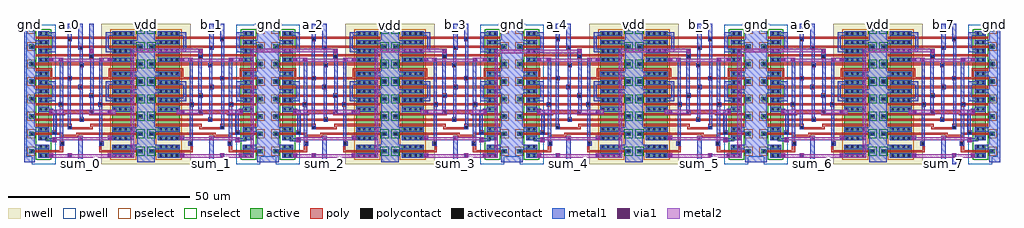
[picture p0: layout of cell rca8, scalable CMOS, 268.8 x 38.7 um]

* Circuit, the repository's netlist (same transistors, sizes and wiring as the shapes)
* FILE: rca8.sp


* SPICE netlist for "rca8" generated by MMI_SUE5.6.37 on Thu Nov 01 
*+ 16:52:23 CDT 2018.

.SUBCKT inv In Out_b 
M_1 Out_b In gnd gnd n W='3*1u' L='0.6*1u' 
M_2 Out_b In vdd vdd p W='6*1u' L='0.6*1u' 
.ENDS	$ inv

.SUBCKT FA a b c cout sum 
M_1 net_9 net_4 net_2 gnd n W='3*1u' L='0.6*1u' 
M_2 net_2 a gnd gnd n W='3*1u' L='0.6*1u' 
M_3 net_2 b gnd gnd n W='3*1u' L='0.6*1u' 
M_4 net_2 c gnd gnd n W='3*1u' L='0.6*1u' 
M_5 net_9 c net_8 gnd n W='3*1u' L='0.6*1u' 
M_6 net_8 b net_3 gnd n W='3*1u' L='0.6*1u' 
M_7 net_3 a gnd gnd n W='3*1u' L='0.6*1u' 
M_8 net_4 c net_6 gnd n W='3*1u' L='0.6*1u' 
M_9 net_6 a gnd gnd n W='3*1u' L='0.6*1u' 
M_10 net_6 b gnd gnd n W='3*1u' L='0.6*1u' 
M_11 net_4 b net_12 gnd n W='3*1u' L='0.6*1u' 
M_12 net_12 a gnd gnd n W='3*1u' L='0.6*1u' 
M_13 net_5 a vdd vdd p W='6*1u' L='0.6*1u' 
M_14 net_5 b vdd vdd p W='6*1u' L='0.6*1u' 
M_15 net_5 c vdd vdd p W='6*1u' L='0.6*1u' 
M_16 net_9 net_4 net_5 vdd p W='6*1u' L='0.6*1u' 
M_17 net_7 b net_11 vdd p W='6*1u' L='0.6*1u' 
M_18 net_9 c net_7 vdd p W='6*1u' L='0.6*1u' 
M_19 net_11 a vdd vdd p W='6*1u' L='0.6*1u' 
M_20 net_1 a vdd vdd p W='6*1u' L='0.6*1u' 
M_21 net_1 b vdd vdd p W='6*1u' L='0.6*1u' 
M_22 net_4 c net_1 vdd p W='6*1u' L='0.6*1u' 
M_23 net_4 b net_10 vdd p W='6*1u' L='0.6*1u' 
M_24 net_10 a vdd vdd p W='6*1u' L='0.6*1u' 
Xinv net_4 cout inv 
Xinv_1 net_9 sum inv 
.ENDS	$ FA

.SUBCKT rca8 A[0] A[1] A[2] A[3] A[4] A[5] A[6] A[7] B[0] B[1] B[2] B[3] 
+ B[4] B[5] B[6] B[7] C_0 Cout Sum[0] Sum[1] Sum[2] Sum[3] Sum[4] Sum[5] 
+ Sum[6] Sum[7] 
XFA A[0] B[0] C_0 net_1 Sum[0] FA 
XFA_1 A[1] B[1] net_1 net_2 Sum[1] FA 
XFA_2 A[2] B[2] net_2 net_3 Sum[2] FA 
XFA_3 A[3] B[3] net_3 net_7 Sum[3] FA 
XFA_4 A[4] B[4] net_7 net_4 Sum[4] FA 
XFA_5 A[5] B[5] net_4 net_6 Sum[5] FA 
XFA_6 A[6] B[6] net_6 net_5 Sum[6] FA 
XFA_7 A[7] B[7] net_5 Cout Sum[7] FA 
.ENDS	$ rca8

.GLOBAL gnd vdd

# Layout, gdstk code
from math import pi, radians
import gdstk
lib = gdstk.Library(unit=1e-6, precision=1e-09)
def R(c, l, rs):  # rectangles x0, y0, x1, y1
    for r in rs: c.add(gdstk.rectangle(r[:2], r[2:], *l))
def A(c, l, x, y, w, h, nx, ny, dx, dy):  # array of equal rectangles
    R(c, l, [(x+i*dx, y+j*dy, x+i*dx+w, y+j*dy+h) for i in range(nx) for j in range(ny)])
pwell = (41, 0)
nwell = (42, 0)
active = (43, 0)
pselect = (44, 0)
nselect = (45, 0)
poly = (46, 0)
polycontact = (47, 0)
activecontact = (48, 0)
metal1 = (49, 0)
via1 = (50, 0)
metal2 = (51, 0)

c_fa = lib.new_cell('fa')
R(c_fa, pwell, [(-1.5,-1.5,35.1,0), (-1.5,0,37.2,1.5), (-1.2,1.5,37.2,6.6)])
R(c_fa, nwell, [(-1.5,19.2,37.2,31.5)])
A(c_fa, active, -0.6, -0.6, 1.2, 1.2, 8, 2, 4.8, 30)
R(c_fa, active, [(0.6,1.8,30.6,4.8), (31.8,1.8,35.4,4.8), (0.6,22.2,30.6,28.2), (31.8,22.2,35.4,28.2)])
A(c_fa, pselect, -1.2, -1.2, 2.4, 2.4, 8, 1, 4.8, 0)
R(c_fa, pselect, [(0,21.6,36,28.8)])
A(c_fa, nselect, -1.2, 28.8, 2.4, 2.4, 8, 1, 4.8, 0)
R(c_fa, nselect, [(0,1.2,36,5.4)])
R(c_fa, poly, [(2.1,1.2,2.7,9.9), (4.5,1.2,5.1,12.9), (6.9,1.2,7.5,15.9), (9.3,1.2,9.9,13.2), (10.8,1.2,11.4,5.1), (13.2,1.2,13.8,5.1), (15.6,1.2,16.2,12.9), (18,1.2,18.6,15.9), (20.4,1.2,21,7.5), (23.1,1.2,23.7,8.7), (24.6,1.2,25.2,13.2), (26.1,1.2,26.7,9.9), (28.5,1.2,29.1,5.7), (33.3,1.2,33.9,7.8), (10.8,5.1,13.8,5.7), (13.2,5.7,13.8,9.9), (27.9,5.7,29.1,6.9), (28.5,6.9,29.1,8.1), (20.1,7.5,21.3,8.7), (30.9,7.8,33.9,8.7), (28.5,8.1,29.7,8.7), (20.4,8.7,21,18.3), (22.5,8.7,23.7,9.3), (29.1,8.7,29.7,12.3), (30.9,8.7,32.1,9), (22.5,9.3,23.1,15.9), (2.1,9.9,3.3,11.1), (12.9,9.9,14.1,11.1), (26.1,9.9,27.6,11.1), (2.1,11.1,2.7,28.8), (13.2,11.1,13.8,21.3), (27,11.1,27.6,16.2), (28.5,12.3,29.7,12.9), (4.5,12.9,5.7,14.1), (15.3,12.9,16.5,14.1), (28.5,12.9,29.1,28.8), (9.3,13.2,10.5,14.4), (24.3,13.2,25.5,14.4), (4.5,14.1,5.1,28.8), (15.6,14.1,16.2,28.8), (9.3,14.4,9.9,28.8), (24.6,14.4,25.2,28.8), (6.9,15.9,8.1,17.1), (17.7,15.9,18.9,17.1), (22.2,15.9,23.7,17.1), (26.1,16.2,27.6,16.8), (26.1,16.8,26.7,28.8), (6.9,17.1,7.5,28.8), (18,17.1,18.6,28.8), (23.1,17.1,23.7,28.8), (20.1,18.3,21.3,19.5), (30.9,18.6,33.9,19.2), (30.9,19.2,32.1,19.8), (33.3,19.2,33.9,28.8), (20.4,19.5,21,28.8), (10.8,21.3,13.8,21.9), (10.8,21.9,11.4,28.8), (13.2,21.9,13.8,28.8)])
R(c_fa, polycontact, [(28.2,6,28.8,6.6), (20.4,7.8,21,8.4), (31.2,8.1,31.8,8.7), (2.4,10.2,3,10.8), (13.2,10.2,13.8,10.8), (26.7,10.2,27.3,10.8), (4.8,13.2,5.4,13.8), (15.6,13.2,16.2,13.8), (9.6,13.5,10.2,14.1), (24.6,13.5,25.2,14.1), (7.2,16.2,7.8,16.8), (18,16.2,18.6,16.8), (22.5,16.2,23.1,16.8), (20.4,18.6,21,19.2), (31.2,18.9,31.8,19.5)])
A(c_fa, activecontact, -0.3, -0.3, 0.6, 0.6, 8, 2, 4.8, 30)
A(c_fa, activecontact, 0.9, 2.25, 0.6, 0.6, 4, 2, 2.4, 1.5)
A(c_fa, activecontact, 12, 2.25, 0.6, 0.6, 4, 2, 2.4, 1.5)
A(c_fa, activecontact, 27.3, 2.25, 0.6, 0.6, 4, 2, 2.4, 1.5)
A(c_fa, activecontact, 0.9, 22.65, 0.6, 0.6, 4, 4, 2.4, 1.5)
A(c_fa, activecontact, 12, 22.65, 0.6, 0.6, 4, 4, 2.4, 1.5)
A(c_fa, activecontact, 21.75, 22.65, 0.6, 0.6, 1, 4, 0, 1.5)
A(c_fa, activecontact, 27.3, 22.65, 0.6, 0.6, 4, 4, 2.4, 1.5)
R(c_fa, activecontact, [(21.75,2.25,22.35,2.85), (21.75,3.75,22.35,4.35)])
R(c_fa, metal1, [(-1.5,-0.9,36.6,0.9), (3,0.9,4.2,4.8), (11.7,0.9,12.9,4.8), (16.5,0.9,17.7,4.8), (27,0.9,28.2,4.8), (31.8,0.9,33,4.8), (0.6,1.8,1.8,4.8), (5.4,1.8,6.6,4.8), (7.8,1.8,9,6), (14.1,1.8,15.3,4.8), (18.9,1.8,20.1,4.8), (21.3,1.8,22.8,4.8), (29.4,1.8,30.6,3.9), (34.2,1.8,35.4,6), (29.4,3.9,30.9,4.8), (0.9,4.8,1.8,5.7), (5.4,4.8,6.3,5.7), (14.4,4.8,15.3,5.7), (18.9,4.8,19.8,5.7), (21.9,4.8,23.4,6), (30,4.8,30.9,5.7), (0.9,5.7,6.3,6.6), (14.4,5.7,19.8,6.6), (27.9,5.7,29.1,6), (30,5.7,31.2,6.9), (22.5,6,29.1,6.9), (7.8,7.5,9,7.8), (20.1,7.5,21.3,7.8), (7.8,7.8,32.1,8.7), (30.9,8.7,32.1,9), (0.6,9.9,27.6,10.8), (34.2,9.9,35.4,11.1), (0.6,10.8,3.3,11.1), (12.9,10.8,14.1,11.1), (26.4,10.8,27.6,11.1), (3,12.9,5.7,13.2), (15.3,12.9,16.5,13.2), (29.4,12.9,36.6,14.1), (3,13.2,25.5,14.1), (9.3,14.1,10.5,14.4), (24.3,14.1,25.5,14.4), (5.4,15.9,8.1,16.2), (17.7,15.9,18.9,16.2), (22.2,15.9,23.4,16.2), (5.4,16.2,23.4,17.1), (20.1,18.3,21.3,18.6), (7.8,18.6,32.1,19.5), (7.8,19.5,9,19.8), (30.9,19.5,32.1,19.8), (0.9,20.4,6.3,21.3), (14.4,20.4,19.8,21.3), (7.8,21,9,28.2), (22.2,21,23.4,22.2), (29.4,21,30.6,28.2), (34.2,21,35.4,28.2), (0.9,21.3,1.8,22.2), (5.4,21.3,6.3,22.2), (14.4,21.3,15.3,22.2), (18.9,21.3,19.8,22.2), (0.6,22.2,1.8,28.2), (3,22.2,4.2,29.1), (5.4,22.2,6.6,28.2), (11.7,22.2,12.9,29.1), (14.1,22.2,15.3,28.2), (16.5,22.2,17.7,29.1), (18.9,22.2,20.1,28.2), (21.3,22.2,23.4,23.1), (27,22.2,28.2,29.1), (31.8,22.2,33,29.1), (21.3,23.1,22.8,28.2), (-1.5,29.1,36.6,30.9)])
R(c_fa, via1, [(8.1,5.1,8.7,5.7), (22.5,5.1,23.1,5.7), (34.5,5.1,35.1,5.7), (30.3,6,30.9,6.6), (8.1,7.8,8.7,8.4), (34.5,10.2,35.1,10.8), (29.7,13.2,30.3,13.8), (5.7,16.2,6.3,16.8), (8.1,18.9,8.7,19.5), (8.1,21.3,8.7,21.9), (22.5,21.3,23.1,21.9), (29.7,21.3,30.3,21.9), (34.5,21.3,35.1,21.9)])
R(c_fa, metal2, [(7.8,4.8,9,8.7), (22.2,4.8,23.4,23.1), (34.2,4.8,35.4,6), (29.7,5.7,31.2,6.9), (34.5,6,35.4,9.9), (29.7,6.9,30.6,12.9), (8.1,8.7,9,18.6), (34.2,9.9,35.4,11.1), (34.5,11.1,35.4,21), (29.4,12.9,30.6,14.1), (29.7,14.1,30.6,21), (5.4,15.9,6.6,17.1), (7.8,18.6,9,22.2), (29.4,21,30.6,22.2), (34.2,21,35.4,22.2)])
c_fa.add(gdstk.Label('vdd', (0,30), layer=49, texttype=0))
c_fa.add(gdstk.Label('gnd', (1.2,0), layer=49, texttype=0))
c_fa.add(gdstk.Label('A', (1.2,10.5), layer=49, texttype=0))
c_fa.add(gdstk.Label('Cout', (34.8,10.5), layer=51, texttype=0))
c_fa.add(gdstk.Label('B', (3.6,13.5), layer=49, texttype=0))
c_fa.add(gdstk.Label('C', (6,16.5), layer=51, texttype=0))
c_fa.add(gdstk.Label('SUm', (32.7,13.5), layer=49, texttype=0))

rca2 = lib.new_cell('rca2')
A(rca2, metal1, -1.2, 0.6, 1.2, 38.1, 3, 1, 33, 0)
R(rca2, metal1, [(13.8,34.2,15,38.7), (49.8,34.2,51,38.7), (10.8,36.6,12,38.7), (52.8,36.6,54,38.7)])
R(rca2, metal2, [(23.1,1.8,29.1,2.7), (28.2,2.7,29.1,30.9), (28.2,30.9,46.8,31.8)])
rca2.add(gdstk.Reference(c_fa, (0.9,37.2), rotation=3*pi/2))
rca2.add(gdstk.Reference(c_fa, (63.9,37.2), rotation=3*pi/2, x_reflection=True))

rca8 = lib.new_cell('rca8')
A(rca8, pwell, 66.6, 2.1, 1.2, 36.6, 3, 1, 67.2, 0)
A(rca8, metal1, 64.2, 37.8, 6, 0.9, 3, 1, 67.2, 0)
A(rca8, metal1, 98.4, 37.8, 4.8, 0.9, 3, 1, 67.2, 0)
R(rca8, metal1, [(15,0,16.2,0.6), (51,0,52.2,0.6), (82.2,0,83.4,0.6), (118.2,0,119.4,0.6), (149.4,0,150.6,0.6), (185.4,0,186.6,0.6), (216.6,0,217.8,0.6), (252.6,0,253.8,0.6), (255.6,0,256.8,1.8), (18,31.8,19.2,38.7), (265.8,37.8,268.8,38.7), (0,38.1,3,38.7), (12,38.1,13.2,38.7), (15,38.1,16.2,38.7), (31.2,38.1,36,38.7), (51,38.1,52.2,38.7), (54,38.1,55.2,38.7), (79.2,38.1,80.4,38.7), (82.2,38.1,83.4,38.7), (118.2,38.1,119.4,38.7), (121.2,38.1,122.4,38.7), (146.4,38.1,147.6,38.7), (149.4,38.1,150.6,38.7), (185.4,38.1,186.6,38.7), (188.4,38.1,189.6,38.7), (213.6,38.1,214.8,38.7), (216.6,38.1,217.8,38.7), (252.6,38.1,253.8,38.7), (255.6,38.1,256.8,38.7)])
A(rca8, metal2, 60.3, 1.8, 3, 0.9, 3, 1, 67.2, 0)
R(rca8, metal2, [(62.4,2.7,63.3,30.9), (129.6,2.7,130.5,30.6), (196.5,2.7,197.7,30.9), (129.6,30.6,152.4,31.5), (62.4,30.9,85.2,31.8), (196.5,30.9,219.6,31.8)])
r = gdstk.Reference(rca2, (1.2,0)); r.repetition = gdstk.Repetition(4, 1, v1=(67.2,0), v2=(0,38.7)); rca8.add(r)
rca8.add(gdstk.Label('a_0', (12.6,38.4), layer=49, texttype=0))
rca8.add(gdstk.Label('b_0', (15.6,38.4), layer=49, texttype=0))
rca8.add(gdstk.Label('c_0', (18.6,38.4), layer=49, texttype=0))
rca8.add(gdstk.Label('b_1', (51.6,38.4), layer=49, texttype=0))
rca8.add(gdstk.Label('a_1', (54.6,38.4), layer=49, texttype=0))
rca8.add(gdstk.Label('a_2', (79.8,38.4), layer=49, texttype=0))
rca8.add(gdstk.Label('b_2', (82.8,38.4), layer=49, texttype=0))
rca8.add(gdstk.Label('b_3', (118.8,38.4), layer=49, texttype=0))
rca8.add(gdstk.Label('a_3', (121.8,38.4), layer=49, texttype=0))
rca8.add(gdstk.Label('a_4', (147,38.4), layer=49, texttype=0))
rca8.add(gdstk.Label('b_4', (150,38.4), layer=49, texttype=0))
rca8.add(gdstk.Label('b_5', (186,38.4), layer=49, texttype=0))
rca8.add(gdstk.Label('a_5', (189,38.4), layer=49, texttype=0))
rca8.add(gdstk.Label('a_6', (214.2,38.4), layer=49, texttype=0))
rca8.add(gdstk.Label('b_6', (217.2,38.4), layer=49, texttype=0))
rca8.add(gdstk.Label('b_7', (253.2,38.4), layer=49, texttype=0))
rca8.add(gdstk.Label('a_7', (256.2,38.4), layer=49, texttype=0))
rca8.add(gdstk.Label('sum_0', (15.6,0.3), layer=49, texttype=0))
rca8.add(gdstk.Label('sum_1', (51.6,0.3), layer=49, texttype=0))
rca8.add(gdstk.Label('sum_2', (82.8,0.3), layer=49, texttype=0))
rca8.add(gdstk.Label('sum_3', (118.8,0.3), layer=49, texttype=0))
rca8.add(gdstk.Label('sum_4', (150,0.3), layer=49, texttype=0))
rca8.add(gdstk.Label('sum_5', (186,0.3), layer=49, texttype=0))
rca8.add(gdstk.Label('sum_6', (217.2,0.3), layer=49, texttype=0))
rca8.add(gdstk.Label('sum_7', (253.2,0.3), layer=49, texttype=0))
rca8.add(gdstk.Label('vdd', (33.6,38.4), layer=49, texttype=0))
rca8.add(gdstk.Label('gnd', (1.5,38.4), layer=49, texttype=0))
rca8.add(gdstk.Label('gnd', (67.5,38.4), layer=49, texttype=0))
rca8.add(gdstk.Label('vdd', (100.8,38.1), layer=49, texttype=0))
rca8.add(gdstk.Label('gnd', (134.4,38.4), layer=49, texttype=0))
rca8.add(gdstk.Label('vdd', (168,38.4), layer=49, texttype=0))
rca8.add(gdstk.Label('gnd', (201.6,38.4), layer=49, texttype=0))
rca8.add(gdstk.Label('vdd', (235.2,38.4), layer=49, texttype=0))
rca8.add(gdstk.Label('gnd', (267.3,38.4), layer=49, texttype=0))
rca8.add(gdstk.Label('cout', (256.2,0.6), layer=49, texttype=0))

lib.write_gds('rca8.gds')
